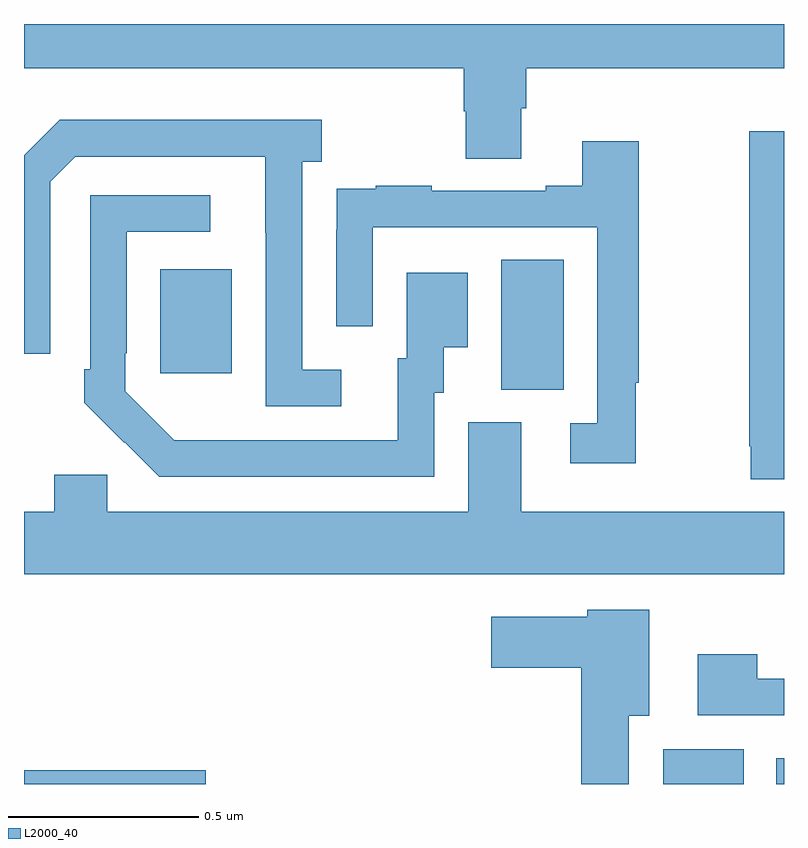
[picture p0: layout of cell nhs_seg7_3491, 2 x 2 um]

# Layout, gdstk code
import gdstk
lib = gdstk.Library(unit=1e-6, precision=1e-09)
def R(c, l, rs):  # rectangles x0, y0, x1, y1
    for r in rs: c.add(gdstk.rectangle(r[:2], r[2:], *l))
def P(c, l, *ps):  # polygons
    for p in ps: c.add(gdstk.Polygon(p, *l))
L2000_40 = (2000, 40)

nhs_seg7_3491 = lib.new_cell('nhs_seg7_3491')
R(nhs_seg7_3491, L2000_40, [(159,1064,159.478,1064.036), (160.682,1064,160.894,1064.092), (160.979,1064,161,1064.068), (160.256,1065.037,160.42,1065.38), (159.359,1065.081,159.547,1065.355)])
P(nhs_seg7_3491, L2000_40, [(161,1066),(159,1066),(159,1065.884),(160.157,1065.884),(160.157,1065.771),(160.162,1065.771),(160.162,1065.646),(160.309,1065.646),(160.309,1065.778),(160.322,1065.778),(160.322,1065.884),(161,1065.884)],
  [(159.835,1065.09),(159.732,1065.09),(159.732,1065.638),(159.784,1065.638),(159.784,1065.748),(159.094,1065.748),(159,1065.654),(159,1065.132),(159.069,1065.132),(159.069,1065.585),(159.135,1065.651),(159.635,1065.651),(159.635,1065.451),(159.636,1065.451),(159.636,1064.994),(159.835,1064.994)],
  [(161,1065.718),(160.908,1065.718),(160.908,1064.889),(160.912,1064.889),(160.912,1064.802),(161,1064.802)],
  [(160.61,1065.056),(160.618,1065.056),(160.618,1065.691),(160.469,1065.691),(160.469,1065.574),(160.373,1065.574),(160.373,1065.561),(160.073,1065.561),(160.073,1065.574),(159.925,1065.574),(159.925,1065.567),(159.823,1065.567),(159.823,1065.458),(159.822,1065.458),(159.822,1065.204),(159.918,1065.204),(159.918,1065.465),(160.509,1065.465),(160.509,1064.949),(160.437,1064.949),(160.437,1064.844),(160.61,1064.844)],
  [(160.08,1065.03),(160.105,1065.03),(160.105,1065.149),(160.168,1065.149),(160.168,1065.346),(160.007,1065.346),(160.007,1065.12),(159.983,1065.12),(159.983,1064.904),(159.499,1064.904),(159.499,1064.905),(159.396,1064.905),(159.267,1065.033),(159.267,1065.133),(159.27,1065.133),(159.27,1065.453),(159.49,1065.453),(159.49,1065.549),(159.174,1065.549),(159.174,1065.091),(159.159,1065.091),(159.159,1065.003),(159.264,1064.898),(159.265,1064.899),(159.356,1064.808),(160.08,1064.808)],
  [(161,1064.716),(160.309,1064.716),(160.309,1064.952),(160.169,1064.952),(160.169,1064.716),(159.219,1064.716),(159.219,1064.814),(159.08,1064.814),(159.08,1064.716),(159,1064.716),(159,1064.552),(161,1064.552)],
  [(160.591,1064.18),(160.645,1064.18),(160.645,1064.458),(160.482,1064.458),(160.482,1064.44),(160.23,1064.44),(160.23,1064.306),(160.466,1064.306),(160.466,1064),(160.591,1064)],
  [(161,1064.277),(160.929,1064.277),(160.929,1064.341),(160.773,1064.341),(160.773,1064.181),(161,1064.181)])

lib.write_gds('nhs_seg7_3491.gds')
